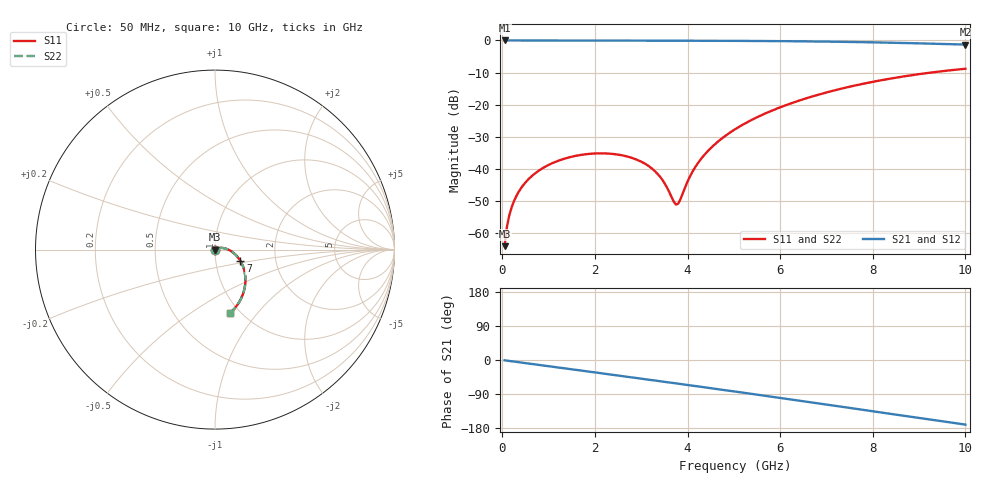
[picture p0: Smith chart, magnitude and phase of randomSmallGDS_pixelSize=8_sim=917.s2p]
! freq	dB(S11)	phase(S11)	dB(S12)	phase(S12)
!  dB(S21)	phase(S21)	dB(S22)	phase(S22)
!S-par simulation data
#  GHz  S  DB  R 50
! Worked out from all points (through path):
!   200 points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, 50 MHz to 10 GHz, reference 50 ohm
!   highest |S21| = 0.00 dB at 50 MHz (marker M1); lowest = -1.3 dB at 10 GHz (marker M2)
!   group delay of S21, straight-line fit = 47.5 ps
!   lowest |S11| = -64.0 dB at 50 MHz (marker M3), VSWR 1.00, Z = 50 - j0.0634 ohm
!   |S11| at or under -10 dB: start of sweep to 9.245 GHz
!   |S22| runs from -64.0 to -8.8 dB; largest |S21 - S12| = 0
!   S11 on the Smith chart (normalised r, x): 50 MHz: 1.00, -0.00; 7 GHz: 1.32, -0.17; 10 GHz: 0.90, -0.73
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0.05  -63.95 -88.1  -0.00 -0.8  -0.00 -0.8  -63.95 -88.1
0.1  -57.94 -90.4  -0.00 -1.7  -0.00 -1.7  -57.94 -90.4
0.2  -51.95 -93.0  -0.00 -3.3  -0.00 -3.3  -51.95 -93.0
0.35  -47.15 -96.0  -0.00 -5.8  -0.00 -5.8  -47.15 -96.0
0.5  -44.15 -98.9  -0.01 -8.2  -0.01 -8.2  -44.15 -98.9
1  -38.69 -108.1  -0.02 -16.4  -0.02 -16.4  -38.69 -108.1
1.75  -35.47 -121.7  -0.03 -28.7  -0.03 -28.7  -35.47 -121.7
2.3  -35.18 -132.2  -0.04 -37.7  -0.04 -37.7  -35.18 -132.1
2.75  -36.29 -141.7  -0.05 -45.1  -0.05 -45.1  -36.29 -141.6
3.1  -38.48 -151.0  -0.06 -50.9  -0.06 -50.9  -38.49 -150.9
3.4  -42.26 -163.9  -0.06 -55.8  -0.06 -55.8  -42.27 -163.7
3.7  -50.05 149.2  -0.07 -60.8  -0.07 -60.8  -50.13 149.5
3.8  -50.72 104.5  -0.07 -62.5  -0.07 -62.5  -50.82 104.3
4.05  -42.36 47.7  -0.08 -66.7  -0.08 -66.7  -42.38 47.5
4.3  -36.68 32.8  -0.09 -70.9  -0.09 -70.9  -36.68 32.7
4.65  -31.53 21.8  -0.11 -76.8  -0.11 -76.8  -31.53 21.7
5.05  -27.40 12.6  -0.13 -83.6  -0.13 -83.6  -27.40 12.6
5.8  -21.95 -2.1  -0.19 -96.6  -0.19 -96.6  -21.95 -2.2
6.7  -17.38 -18.7  -0.30 -112.3  -0.30 -112.3  -17.38 -18.8
7  -16.16 -24.1  -0.36 -117.6  -0.36 -117.6  -16.16 -24.2
8.35  -11.93 -48.2  -0.69 -141.6  -0.69 -141.6  -11.93 -48.2
10  -8.80 -76.6  -1.28 -170.5  -1.28 -170.5  -8.80 -76.6
